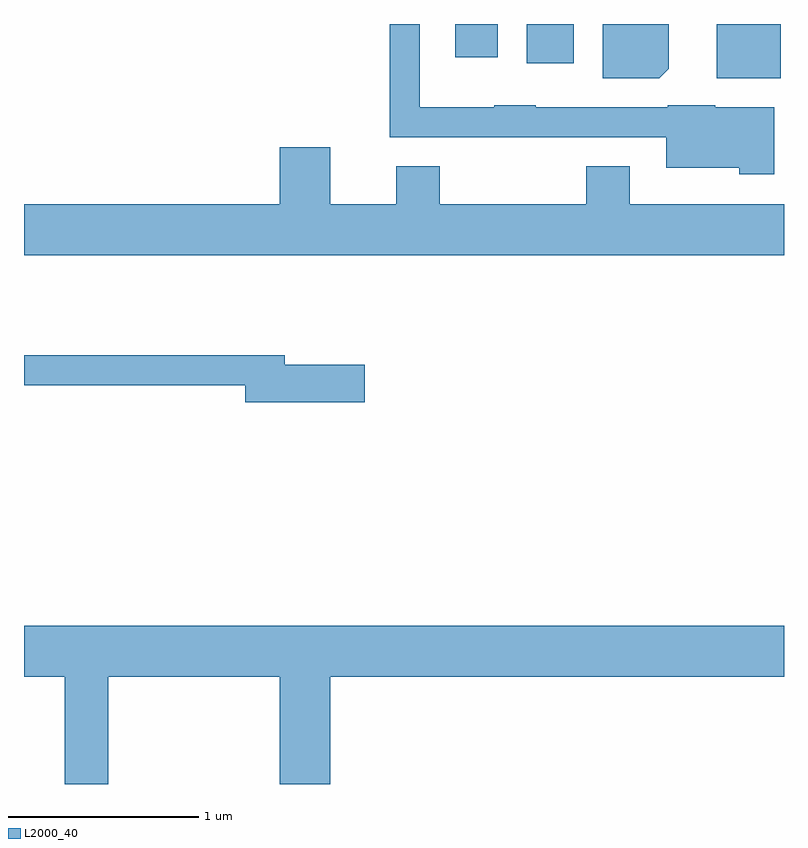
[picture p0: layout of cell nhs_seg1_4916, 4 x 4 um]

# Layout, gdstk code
import gdstk
lib = gdstk.Library(unit=1e-6, precision=1e-09)
def R(c, l, rs):  # rectangles x0, y0, x1, y1
    for r in rs: c.add(gdstk.rectangle(r[:2], r[2:], *l))
def P(c, l, *ps):  # polygons
    for p in ps: c.add(gdstk.Polygon(p, *l))
L2000_40 = (2000, 40)

nhs_seg1_4916 = lib.new_cell('nhs_seg1_4916')
R(nhs_seg1_4916, L2000_40, [(337.256,869.426,337.594,869.712), (336.256,869.506,336.504,869.712), (335.881,869.536,336.104,869.712)])
P(nhs_seg1_4916, L2000_40, [(337.004,869.477),(337.004,869.712),(336.656,869.712),(336.656,869.426),(336.954,869.426)],
  [(337.559,869.274),(337.25,869.274),(337.25,869.284),(337,869.284),(337,869.274),(336.305,869.274),(336.305,869.284),(336.085,869.284),(336.085,869.274),(335.694,869.274),(335.694,869.712),(335.536,869.712),(335.536,869.116),(336.991,869.116),(336.991,868.956),(337.376,868.956),(337.376,868.921),(337.559,868.921)],
  [(337.611,868.764),(336.799,868.764),(336.799,868.964),(336.571,868.964),(336.571,868.764),(335.799,868.764),(335.799,868.964),(335.571,868.964),(335.571,868.764),(335.224,868.764),(335.224,869.064),(334.956,869.064),(334.956,868.764),(333.611,868.764),(333.611,868.496),(337.611,868.496)],
  [(335.404,867.919),(334.984,867.919),(334.984,867.969),(333.611,867.969),(333.611,867.811),(334.776,867.811),(334.776,867.721),(335.404,867.721)],
  [(334.054,866.276),(334.956,866.276),(334.956,865.712),(335.224,865.712),(335.224,866.276),(337.611,866.276),(337.611,866.544),(333.611,866.544),(333.611,866.276),(333.826,866.276),(333.826,865.712),(334.054,865.712)])

lib.write_gds('nhs_seg1_4916.gds')
